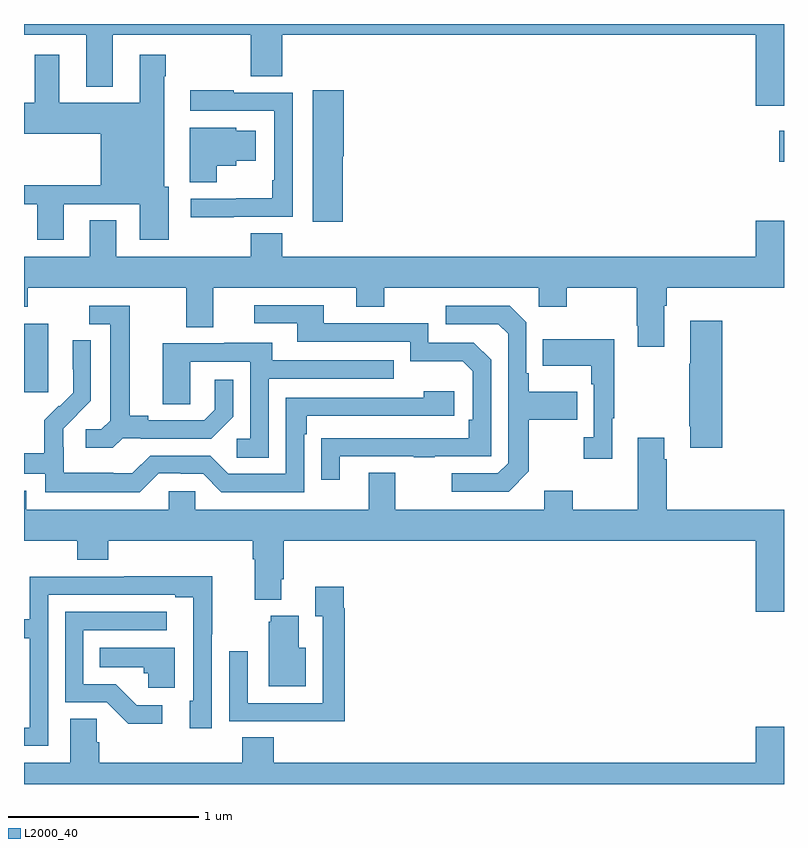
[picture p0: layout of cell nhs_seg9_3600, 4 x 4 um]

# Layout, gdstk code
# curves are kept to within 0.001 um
import gdstk
lib = gdstk.Library(unit=1e-6, precision=1e-09)
def R(c, l, rs):  # rectangles x0, y0, x1, y1
    for r in rs: c.add(gdstk.rectangle(r[:2], r[2:], *l))
def P(c, l, *ps):  # polygons
    for p in ps: c.add(gdstk.Polygon(p, *l))
L2000_40 = (2000, 40)

nhs_seg9_3600 = lib.new_cell('nhs_seg9_3600')
R(nhs_seg9_3600, L2000_40, [(317,1170.561,317.128,1170.922), (320.976,1171.774,321,1171.939)])
P(nhs_seg9_3600, L2000_40, [(317,1172.444),(317.327,1172.444),(317.327,1172.171),(317.467,1172.171),(317.467,1172.444),(318.193,1172.444),(318.193,1172.224),(318.359,1172.224),(318.359,1172.444),(320.852,1172.444),(320.852,1172.07),(321,1172.07),(321,1172.5),(317,1172.5)],
  [(317.209,1171.551),(317.609,1171.551),(317.609,1171.365),(317.761,1171.365),(317.761,1171.644),(317.737,1171.644),(317.737,1172.225),(317.745,1172.225),(317.745,1172.338),(317.609,1172.338),(317.609,1172.086),(317.185,1172.086),(317.185,1172.338),(317.057,1172.338),(317.057,1172.086),(317,1172.086),(317,1171.922),(317.405,1171.922),(317.405,1171.652),(317,1171.652),(317,1171.551),(317.069,1171.551),(317.069,1171.365),(317.209,1171.365)],
  [(318.104,1171.485),(318.414,1171.485),(318.414,1172.139),(318.104,1172.139),(318.104,1172.152),(317.874,1172.152),(317.874,1172.043),(318.318,1172.043),(318.318,1171.678),(318.306,1171.678),(318.306,1171.583),(318.117,1171.583),(318.117,1171.581),(317.877,1171.581),(317.877,1171.484),(318.104,1171.484)],
  [(318.677,1171.803),(318.682,1171.803),(318.682,1172.152),(318.521,1172.152),(318.521,1171.458),(318.677,1171.458)],
  [(318.015,1171.754),(318.117,1171.754),(318.117,1171.781),(318.22,1171.781),(318.22,1171.939),(318.117,1171.939),(318.117,1171.954),(317.873,1171.954),(317.873,1171.666),(318.015,1171.666)],
  [(320.371,1171.016),(320.384,1171.016),(320.384,1171.112),(321,1171.112),(321,1171.465),(320.852,1171.465),(320.852,1171.276),(318.359,1171.276),(318.359,1171.4),(318.193,1171.4),(318.193,1171.276),(317.485,1171.276),(317.485,1171.466),(317.345,1171.466),(317.345,1171.276),(317,1171.276),(317,1171.013),(317.019,1171.013),(317.019,1171.112),(317.855,1171.112),(317.855,1170.904),(317.995,1170.904),(317.995,1171.112),(318.749,1171.112),(318.749,1171.013),(318.897,1171.013),(318.897,1171.112),(319.71,1171.112),(319.71,1171.013),(319.857,1171.013),(319.857,1171.112),(320.224,1171.112),(320.224,1170.913),(320.231,1170.913),(320.231,1170.801),(320.371,1170.801)],
  [(318.661,1170.225),(319.051,1170.225),(319.051,1170.22),(319.163,1170.22),(319.163,1170.225),(319.458,1170.225),(319.458,1170.732),(319.368,1170.822),(319.128,1170.822),(319.128,1170.924),(318.577,1170.924),(318.577,1171.02),(318.213,1171.02),(318.213,1170.924),(318.437,1170.924),(318.437,1170.828),(319.032,1170.828),(319.032,1170.725),(319.309,1170.725),(319.362,1170.672),(319.362,1170.418),(319.342,1170.418),(319.342,1170.321),(318.565,1170.32),(318.565,1170.102),(318.661,1170.102)],
  [(319.657,1170.145),(319.657,1170.418),(319.913,1170.418),(319.913,1170.565),(319.657,1170.565),(319.657,1170.661),(319.644,1170.661),(319.644,1170.93),(319.557,1171.017),(319.221,1171.017),(319.221,1170.921),(319.497,1170.921),(319.548,1170.87),(319.548,1170.189),(319.494,1170.135),(319.251,1170.135),(319.251,1170.039),(319.551,1170.039)],
  [(317.52,1170.321),(317.614,1170.321),(317.614,1170.318),(317.986,1170.318),(318.102,1170.434),(318.102,1170.628),(318.005,1170.628),(318.005,1170.471),(317.948,1170.414),(317.653,1170.414),(317.653,1170.437),(317.557,1170.437),(317.557,1171.017),(317.343,1171.017),(317.343,1170.921),(317.453,1170.921),(317.453,1170.413),(317.406,1170.366),(317.325,1170.366),(317.325,1170.269),(317.468,1170.269)],
  [(320.675,1170.937),(320.507,1170.937),(320.507,1170.713),(320.5,1170.713),(320.5,1170.382),(320.507,1170.382),(320.507,1170.27),(320.675,1170.27)],
  [(320.095,1170.425),(320.107,1170.425),(320.107,1170.841),(319.729,1170.841),(319.729,1170.701),(319.986,1170.701),(319.986,1170.605),(319.998,1170.605),(319.998,1170.326),(319.947,1170.326),(319.947,1170.213),(320.095,1170.213)],
  [(317.709,1170.135),(317.825,1170.135),(317.825,1170.132),(317.943,1170.132),(318.039,1170.036),(318.474,1170.036),(318.474,1170.341),(318.487,1170.341),(318.487,1170.438),(319.264,1170.438),(319.264,1170.568),(319.103,1170.568),(319.103,1170.534),(318.378,1170.534),(318.378,1170.132),(318.075,1170.132),(317.979,1170.228),(317.664,1170.228),(317.571,1170.135),(317.471,1170.135),(317.471,1170.139),(317.208,1170.139),(317.208,1170.273),(317.206,1170.273),(317.206,1170.37),(317.352,1170.518),(317.352,1170.836),(317.256,1170.836),(317.256,1170.682),(317.258,1170.682),(317.258,1170.56),(317.187,1170.489),(317.184,1170.492),(317.107,1170.415),(317.107,1170.241),(317,1170.241),(317,1170.132),(317.112,1170.132),(317.112,1170.035),(317.609,1170.035)],
  [(318.288,1170.633),(318.947,1170.633),(318.947,1170.729),(318.307,1170.729),(318.307,1170.823),(318.053,1170.823),(318.053,1170.819),(317.729,1170.819),(317.729,1170.499),(317.874,1170.499),(317.874,1170.723),(318.192,1170.723),(318.192,1170.318),(318.12,1170.318),(318.12,1170.217),(318.288,1170.217)],
  [(321,1169.944),(320.384,1169.944),(320.384,1170.209),(320.371,1170.209),(320.371,1170.322),(320.231,1170.322),(320.231,1169.944),(319.887,1169.944),(319.887,1170.043),(319.739,1170.043),(319.739,1169.944),(318.955,1169.944),(318.955,1170.139),(318.815,1170.139),(318.815,1169.944),(317.901,1169.944),(317.901,1170.042),(317.763,1170.042),(317.763,1169.944),(317.011,1169.944),(317.011,1170.043),(317,1170.043),(317,1169.78),(317.279,1169.78),(317.279,1169.681),(317.444,1169.681),(317.444,1169.78),(318.203,1169.78),(318.203,1169.684),(318.215,1169.684),(318.215,1169.471),(318.355,1169.471),(318.355,1169.578),(318.368,1169.578),(318.368,1169.78),(320.852,1169.78),(320.852,1169.406),(321,1169.406)],
  [(317.127,1169.496),(317.795,1169.496),(317.795,1169.484),(317.892,1169.484),(317.892,1168.938),(317.873,1168.938),(317.873,1168.794),(317.988,1168.794),(317.988,1169.287),(317.991,1169.287),(317.991,1169.594),(317.527,1169.594),(317.527,1169.592),(317.031,1169.592),(317.031,1169.367),(317,1169.367),(317,1169.266),(317.031,1169.266),(317.031,1168.797),(317,1168.797),(317,1168.701),(317.127,1168.701)],
  [(318.689,1169.426),(318.682,1169.426),(318.682,1169.539),(318.533,1169.539),(318.533,1169.383),(318.573,1169.383),(318.573,1168.926),(318.177,1168.926),(318.177,1169.2),(318.081,1169.2),(318.081,1168.83),(318.397,1168.83),(318.397,1168.829),(318.689,1168.829)],
  [(317.728,1168.914),(317.593,1168.914),(317.482,1169.025),(317.313,1169.025),(317.313,1169.31),(317.752,1169.31),(317.752,1169.406),(317.217,1169.406),(317.217,1168.929),(317.436,1168.929),(317.549,1168.817),(317.728,1168.817)],
  [(318.484,1169.218),(318.445,1169.218),(318.445,1169.386),(318.299,1169.386),(318.299,1169.355),(318.287,1169.355),(318.287,1169.015),(318.484,1169.015)],
  [(317.794,1169.218),(317.398,1169.218),(317.398,1169.114),(317.629,1169.114),(317.629,1169.082),(317.655,1169.082),(317.655,1169.006),(317.794,1169.006)],
  [(317.382,1168.721),(317.382,1168.844),(317.243,1168.844),(317.243,1168.612),(317,1168.612),(317,1168.5),(321,1168.5),(321,1168.801),(320.852,1168.801),(320.852,1168.612),(318.314,1168.612),(318.314,1168.745),(318.149,1168.745),(318.149,1168.612),(317.396,1168.612),(317.396,1168.721)])

lib.write_gds('nhs_seg9_3600.gds')
